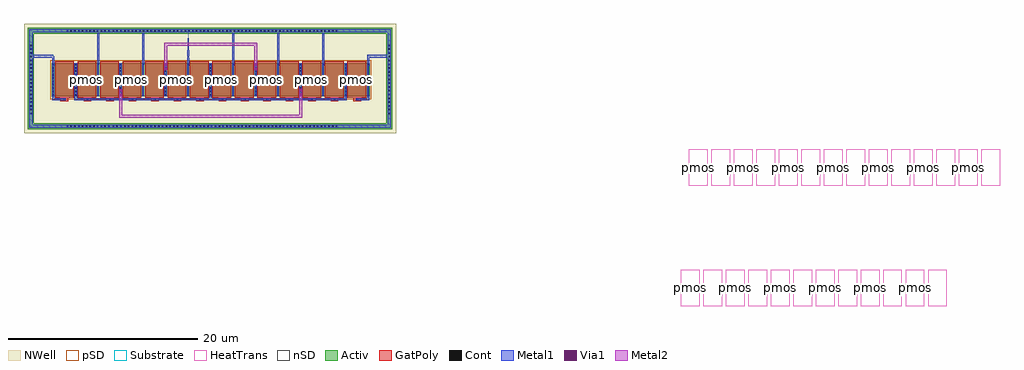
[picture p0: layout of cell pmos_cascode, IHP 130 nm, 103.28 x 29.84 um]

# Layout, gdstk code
import gdstk
lib = gdstk.Library(unit=1e-6, precision=1e-09)
def R(c, l, rs):  # rectangles x0, y0, x1, y1
    for r in rs: c.add(gdstk.rectangle(r[:2], r[2:], *l))
def A(c, l, x, y, w, h, nx, ny, dx, dy):  # array of equal rectangles
    R(c, l, [(x+i*dx, y+j*dy, x+i*dx+w, y+j*dy+h) for i in range(nx) for j in range(ny)])
Activ = (1, 0)
GatPoly = (5, 0)
Cont = (6, 0)
nSD = (7, 0)
Metal1 = (8, 0)
Metal2 = (10, 0)
pSD = (14, 0)
Via1 = (19, 0)
NWell = (31, 0)
Substrate = (40, 0)
HeatTrans = (51, 0)

pmos_cascode = lib.new_cell('pmos_cascode')
A(pmos_cascode, Activ, -79.305, 22.77, 0.3, 0.3, 15, 1, 2.38, 0)
R(pmos_cascode, Activ, [(-79.305,19.57,-45.685,23.07)])
A(pmos_cascode, GatPoly, -75.915, 19.045, 0.8, 0.355, 4, 1, 2.375, 0)
A(pmos_cascode, GatPoly, -56.915, 19.045, 0.8, 0.355, 4, 1, 2.375, 0)
A(pmos_cascode, GatPoly, -78.965, 19.39, 2, 3.86, 14, 1, 2.38, 0)
R(pmos_cascode, GatPoly, [(-66.415,19.04,-65.615,19.4), (-59.29,19.04,-58.49,19.4), (-78.39,19.045,-77.59,19.4), (-64.04,19.045,-63.24,19.4), (-61.665,19.045,-60.865,19.4), (-47.39,19.045,-46.59,19.4), (-48.025,19.39,-46.025,23.25)])
A(pmos_cascode, Cont, -77.335, 16.315, 0.16, 0.16, 11, 2, 0.4, 10.085)
A(pmos_cascode, Cont, -72.865, 16.315, 0.16, 0.16, 30, 2, 0.4, 10.085)
A(pmos_cascode, Cont, -60.855, 16.315, 0.16, 0.16, 30, 2, 0.4, 10.085)
A(pmos_cascode, Cont, -81.595, 17.665, 0.16, 0.16, 1, 19, 0, 0.4)
A(pmos_cascode, Cont, -43.67, 17.665, 0.16, 0.16, 1, 19, 0, 0.4)
A(pmos_cascode, Cont, -61.34, 19.155, 0.16, 0.16, 3, 1, 2.37, 0)
A(pmos_cascode, Cont, -79.235, 19.64, 0.16, 0.16, 15, 2, 2.38, 0.36)
A(pmos_cascode, Cont, -79.235, 20.355, 0.16, 0.16, 15, 8, 2.38, 0.355)
R(pmos_cascode, Cont, [(-77.745,16.315,-77.585,16.475), (-78.085,19.155,-77.925,19.315), (-75.61,19.155,-75.45,19.315), (-73.21,19.155,-73.05,19.315), (-70.835,19.155,-70.675,19.315), (-68.47,19.155,-68.31,19.315), (-66.085,19.155,-65.925,19.315), (-63.72,19.155,-63.56,19.315), (-54.22,19.155,-54.06,19.315), (-51.845,19.155,-51.685,19.315), (-49.48,19.155,-49.32,19.315), (-47.08,19.155,-46.92,19.315), (-77.745,26.4,-77.585,26.56)])
A(pmos_cascode, Metal1, -79.235, 19.57, 0.16, 3.5, 14, 1, 2.38, 0)
R(pmos_cascode, Metal1, [(-76.91,19.135,-76.64,23.07), (-48.335,19.135,-48.095,23.07), (-62.63,19.235,-62.365,23.07), (-72.145,19.57,-71.895,23.07), (-67.39,19.57,-67.12,23.07), (-57.85,19.57,-57.615,23.07), (-53.1,19.57,-52.85,23.07), (-48.295,19.57,-48.135,23.07), (-45.915,19.57,-45.755,23.07), (-45.915,19.57,-45.755,23.07)])
R(pmos_cascode, pSD, [(-79.485,19.27,-45.505,23.37)])
R(pmos_cascode, Via1, [(-72.12,19.645,-71.93,19.835), (-53.07,19.67,-52.88,19.86), (-72.12,20.06,-71.93,20.25), (-53.07,20.085,-52.88,20.275), (-67.345,22.37,-67.155,22.56), (-57.83,22.38,-57.64,22.57), (-67.345,22.795,-67.155,22.985), (-57.83,22.8,-57.64,22.99)])
R(pmos_cascode, NWell, [(-82.25,15.66,-42.86,27.21), (-79.615,19.26,-45.375,23.38)])
R(pmos_cascode, Substrate, [(-79.305,22.77,-79.005,23.07)])
A(pmos_cascode, HeatTrans, -12.765, -2.635, 2, 3.86, 12, 1, 2.38, 0)
A(pmos_cascode, HeatTrans, -11.915, 10.085, 2, 3.86, 14, 1, 2.38, 0)
A(pmos_cascode, HeatTrans, -78.965, 19.39, 2, 3.86, 14, 1, 2.38, 0)
pmos_cascode.add(gdstk.FlexPath([(-47.135,19.235),(-45.835,19.235),(-45.835,19.665)], 0.2, ends="flush", simple_path=True, layer=8, datatype=0))  # Metal1
pmos_cascode.add(gdstk.FlexPath([(-48.215,19.235),(-76.785,19.235)], 0.2, ends="flush", simple_path=True, layer=8, datatype=0))  # Metal1
pmos_cascode.add(gdstk.FlexPath([(-77.82,19.235),(-79.155,19.235),(-79.155,19.765)], 0.2, ends="flush", simple_path=True, layer=8, datatype=0))  # Metal1
pmos_cascode.add(gdstk.FlexPath([(-50.595,22.77),(-50.595,26.4)], 0.2, ends="flush", simple_path=True, layer=8, datatype=0))  # Metal1
pmos_cascode.add(gdstk.FlexPath([(-45.835,22.77),(-45.835,23.805)], 0.2, ends="flush", simple_path=True, layer=8, datatype=0))  # Metal1
pmos_cascode.add(gdstk.FlexPath([(-55.35,22.77),(-55.35,26.4)], 0.2, ends="flush", simple_path=True, layer=8, datatype=0))  # Metal1
pmos_cascode.add(gdstk.FlexPath([(-60.11,22.77),(-60.11,26.4)], 0.2, ends="flush", simple_path=True, layer=8, datatype=0))  # Metal1
pmos_cascode.add(gdstk.FlexPath([(-64.875,22.77),(-64.875,26.4),(-64.875,23.805)], 0.2, ends="flush", simple_path=True, layer=8, datatype=0))  # Metal1
pmos_cascode.add(gdstk.FlexPath([(-74.4,22.955),(-74.4,23.79),(-74.4,26.48)], 0.2, ends="flush", simple_path=True, layer=8, datatype=0))  # Metal1
pmos_cascode.add(gdstk.FlexPath([(-79.155,22.915),(-79.155,23.805)], 0.2, ends="flush", simple_path=True, layer=8, datatype=0))  # Metal1
pmos_cascode.add(gdstk.FlexPath([(-45.94,23.805),(-43.59,23.805)], 0.3, ends="flush", simple_path=True, layer=8, datatype=0))  # Metal1
pmos_cascode.add(gdstk.FlexPath([(-79.15,23.805),(-81.52,23.805)], 0.3, ends="flush", simple_path=True, layer=8, datatype=0))  # Metal1
pmos_cascode.add(gdstk.FlexPath([(-43.59,16.22),(-43.59,26.48),(-69.71,26.48),(-74.42,26.48),(-81.52,26.48),(-81.52,16.39),(-43.76,16.39)], 0.34, ends="flush", simple_path=True, layer=8, datatype=0))  # Metal1
pmos_cascode.add(gdstk.FlexPath([(-69.63,22.91),(-69.63,26.48)], 0.2, ends="flush", simple_path=True, layer=8, datatype=0))  # Metal1
pmos_cascode.add(gdstk.FlexPath([(-81.84,26.48),(-43.59,26.48),(-43.59,16.39),(-81.52,16.39),(-81.52,26.36)], 0.64, ends="flush", simple_path=True, layer=1, datatype=0))  # Activ
pmos_cascode.add(gdstk.FlexPath([(-72.025,20.28),(-72.025,17.44),(-52.98,17.44),(-52.98,20.355)], 0.3, ends="flush", simple_path=True, layer=10, datatype=0))  # Metal2
pmos_cascode.add(gdstk.FlexPath([(-67.255,22.31),(-67.255,25.065),(-57.735,25.065),(-57.735,22.315)], 0.3, ends="flush", simple_path=True, layer=10, datatype=0))  # Metal2
pmos_cascode.add(gdstk.FlexPath([(-81.2,16.39),(-43.59,16.39),(-43.59,26.48),(-81.52,26.48),(-81.52,16.075)], 0.64, ends="flush", simple_path=True, layer=7, datatype=0))  # nSD
pmos_cascode.add(gdstk.Label('pmos', (-47.025,21.32), layer=63, texttype=0))
pmos_cascode.add(gdstk.Label('pmos', (-10.915,12.015), layer=63, texttype=0))
pmos_cascode.add(gdstk.Label('pmos', (-11.765,-0.705), layer=63, texttype=0))
pmos_cascode.add(gdstk.Label('pmos', (-47.025,21.32), layer=51, texttype=0))
pmos_cascode.add(gdstk.Label('pmos', (-49.405,21.32), layer=51, texttype=0))
pmos_cascode.add(gdstk.Label('pmos', (-51.785,21.32), layer=51, texttype=0))
pmos_cascode.add(gdstk.Label('pmos', (-54.165,21.32), layer=51, texttype=0))
pmos_cascode.add(gdstk.Label('pmos', (-56.545,21.32), layer=51, texttype=0))
pmos_cascode.add(gdstk.Label('pmos', (-58.925,21.32), layer=51, texttype=0))
pmos_cascode.add(gdstk.Label('pmos', (-61.305,21.32), layer=51, texttype=0))
pmos_cascode.add(gdstk.Label('pmos', (-63.685,21.32), layer=51, texttype=0))
pmos_cascode.add(gdstk.Label('pmos', (-66.065,21.32), layer=51, texttype=0))
pmos_cascode.add(gdstk.Label('pmos', (-68.445,21.32), layer=51, texttype=0))
pmos_cascode.add(gdstk.Label('pmos', (-70.825,21.32), layer=51, texttype=0))
pmos_cascode.add(gdstk.Label('pmos', (-73.205,21.32), layer=51, texttype=0))
pmos_cascode.add(gdstk.Label('pmos', (-75.585,21.32), layer=51, texttype=0))
pmos_cascode.add(gdstk.Label('pmos', (-77.965,21.32), layer=51, texttype=0))
pmos_cascode.add(gdstk.Label('pmos', (-10.915,12.015), layer=51, texttype=0))
pmos_cascode.add(gdstk.Label('pmos', (-8.535,12.015), layer=51, texttype=0))
pmos_cascode.add(gdstk.Label('pmos', (-6.155,12.015), layer=51, texttype=0))
pmos_cascode.add(gdstk.Label('pmos', (-3.775,12.015), layer=51, texttype=0))
pmos_cascode.add(gdstk.Label('pmos', (-1.395,12.015), layer=51, texttype=0))
pmos_cascode.add(gdstk.Label('pmos', (0.985,12.015), layer=51, texttype=0))
pmos_cascode.add(gdstk.Label('pmos', (3.365,12.015), layer=51, texttype=0))
pmos_cascode.add(gdstk.Label('pmos', (5.745,12.015), layer=51, texttype=0))
pmos_cascode.add(gdstk.Label('pmos', (8.125,12.015), layer=51, texttype=0))
pmos_cascode.add(gdstk.Label('pmos', (10.505,12.015), layer=51, texttype=0))
pmos_cascode.add(gdstk.Label('pmos', (12.885,12.015), layer=51, texttype=0))
pmos_cascode.add(gdstk.Label('pmos', (15.265,12.015), layer=51, texttype=0))
pmos_cascode.add(gdstk.Label('pmos', (17.645,12.015), layer=51, texttype=0))
pmos_cascode.add(gdstk.Label('pmos', (20.025,12.015), layer=51, texttype=0))
pmos_cascode.add(gdstk.Label('pmos', (-11.765,-0.705), layer=51, texttype=0))
pmos_cascode.add(gdstk.Label('pmos', (-9.385,-0.705), layer=51, texttype=0))
pmos_cascode.add(gdstk.Label('pmos', (-7.005,-0.705), layer=51, texttype=0))
pmos_cascode.add(gdstk.Label('pmos', (-4.625,-0.705), layer=51, texttype=0))
pmos_cascode.add(gdstk.Label('pmos', (-2.245,-0.705), layer=51, texttype=0))
pmos_cascode.add(gdstk.Label('pmos', (0.135,-0.705), layer=51, texttype=0))
pmos_cascode.add(gdstk.Label('pmos', (2.515,-0.705), layer=51, texttype=0))
pmos_cascode.add(gdstk.Label('pmos', (4.895,-0.705), layer=51, texttype=0))
pmos_cascode.add(gdstk.Label('pmos', (7.275,-0.705), layer=51, texttype=0))
pmos_cascode.add(gdstk.Label('pmos', (9.655,-0.705), layer=51, texttype=0))
pmos_cascode.add(gdstk.Label('pmos', (12.035,-0.705), layer=51, texttype=0))
pmos_cascode.add(gdstk.Label('pmos', (14.415,-0.705), layer=51, texttype=0))

lib.write_gds('pmos_cascode.gds')
